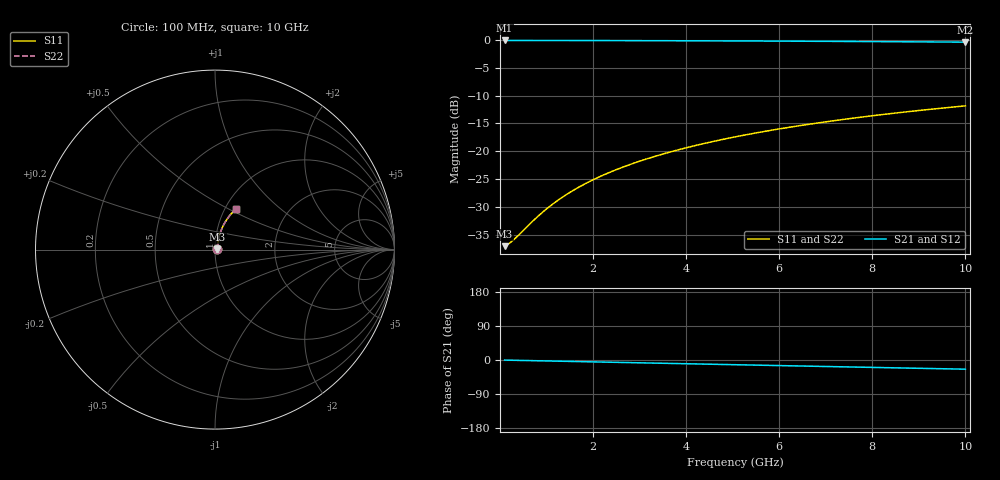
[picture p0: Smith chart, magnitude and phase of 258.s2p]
# Hz S RI R 50.00
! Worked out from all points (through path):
!   100 points, 100 MHz to 10 GHz, reference 50 ohm
!   highest |S21| = -0.12 dB at 100 MHz (marker M1); lowest = -0.4 dB at 10 GHz (marker M2)
!   group delay of S21, straight-line fit = 6.74 ps
!   lowest |S11| = -37.0 dB at 100 MHz (marker M3), VSWR 1.03, Z = 51.4 + j0.27 ohm
!   |S11| at or under -10 dB: start of sweep to end of sweep
!   |S22| runs from -37.0 to -11.9 dB; largest |S21 - S12| = 0
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1e8  0.0138 0.00263  0.9862 -0.00426  0.9862 -0.00426  0.0138 0.00263
2e8  0.014 0.00525  0.986 -0.00851  0.986 -0.00851  0.014 0.00525
3e8  0.0141 0.00787  0.9859 -0.0128  0.9859 -0.0128  0.0141 0.00787
8e8  0.0149 0.021  0.985 -0.034  0.985 -0.034  0.0149 0.021
9e8  0.0151 0.0236  0.9847 -0.0383  0.9847 -0.0383  0.0151 0.0236
1.1e9  0.0156 0.0288  0.9842 -0.0468  0.9842 -0.0468  0.0156 0.0288
1.4e9  0.0166 0.0366  0.9831 -0.0595  0.9831 -0.0595  0.0166 0.0366
1.6e9  0.0173 0.0418  0.9823 -0.0679  0.9823 -0.0679  0.0173 0.0418
1.8e9  0.0181 0.047  0.9814 -0.0764  0.9814 -0.0764  0.0181 0.047
2.1e9  0.0195 0.0547  0.9799 -0.089  0.9799 -0.089  0.0195 0.0547
2.5e9  0.0216 0.0649  0.9775 -0.1058  0.9775 -0.1058  0.0216 0.0649
2.9e9  0.0241 0.0751  0.9748 -0.1224  0.9748 -0.1224  0.0241 0.0751
3.4e9  0.0276 0.0876  0.9708 -0.1432  0.9708 -0.1432  0.0276 0.0876
3.8e9  0.0309 0.0975  0.9671 -0.1596  0.9671 -0.1596  0.0309 0.0975
4.2e9  0.0344 0.1072  0.9632 -0.1759  0.9632 -0.1759  0.0344 0.1072
4.6e9  0.0383 0.1168  0.9588 -0.192  0.9588 -0.192  0.0383 0.1168
5.1e9  0.0436 0.1286  0.9528 -0.212  0.9528 -0.212  0.0436 0.1286
5.9e9  0.053 0.1468  0.9422 -0.2434  0.9422 -0.2434  0.053 0.1468
6.7e9  0.0636 0.1643  0.9302 -0.2741  0.9302 -0.2741  0.0636 0.1643
7.5e9  0.0753 0.1809  0.917 -0.3039  0.917 -0.3039  0.0753 0.1809
8.4e9  0.0896 0.1985  0.9007 -0.3363  0.9007 -0.3363  0.0896 0.1985
1e10  0.1178 0.2266  0.8684 -0.3909  0.8684 -0.3909  0.1178 0.2266
